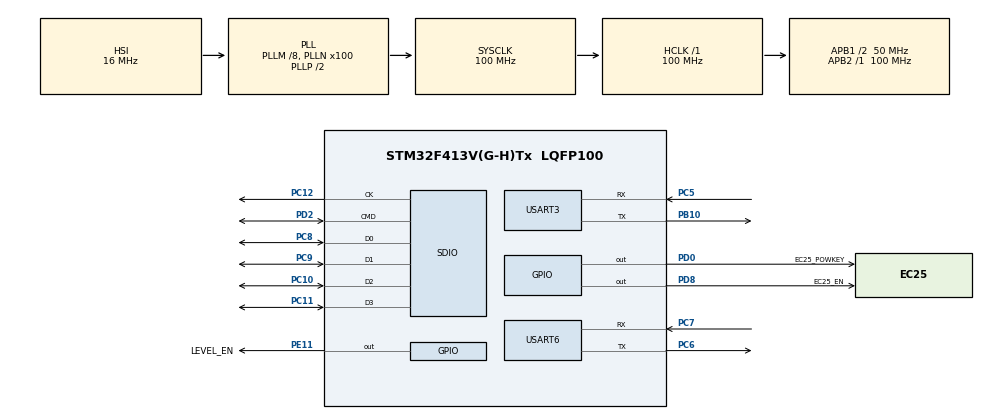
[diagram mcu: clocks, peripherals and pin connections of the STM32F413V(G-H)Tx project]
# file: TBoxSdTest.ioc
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Mcu.Family=STM32F4
NVIC.USART3_IRQn=true\:0\:0\:false\:false\:true\:true\:true\:true
Dma.SDIO_TX.1.MemInc=DMA_MINC_ENABLE
RCC.CortexFreq_Value=100000000
FATFS._USE_LFN=2
PB10.Mode=Asynchronous
VP_FATFS_VS_SDIO.Mode=SDIO
PE11.GPIO_Label=LEVEL_EN
PC12.Signal=SDIO_CK
PC10.Signal=SDIO_D2
PD0.GPIO_Label=EC25_POWKEY
PC5.Mode=Asynchronous
Dma.SDIO_TX.1.PeriphBurst=DMA_PBURST_INC4
RCC.SYSCLKSource=RCC_SYSCLKSOURCE_PLLCLK
ProjectManager.StackSize=0x2000
Dma.SDIO_RX.0.Direction=DMA_PERIPH_TO_MEMORY
VP_FREERTOS_VS_CMSIS_V2.Mode=CMSIS_V2
Dma.SDIO_TX.1.Instance=DMA2_Stream6
Dma.SDIO_TX.1.PeriphInc=DMA_PINC_DISABLE
FREERTOS.configENABLE_FPU=0
Dma.SDIO_TX.1.PeriphDataAlignment=DMA_PDATAALIGN_WORD
PH0\ -\ OSC_IN.Signal=RCC_OSC_IN
RCC.HCLKFreq_Value=100000000
RCC.APB2TimFreq_Value=100000000
PC7.Signal=USART6_RX
PD0.Signal=GPIO_Output
PD8.Signal=GPIO_Output
Dma.SDIO_TX.1.FIFOMode=DMA_FIFOMODE_ENABLE
FREERTOS.configMINIMAL_STACK_SIZE=1024
RCC.AHBFreq_Value=100000000
RCC.HSE_VALUE=8000000
Dma.SDIO_TX.1.MemBurst=DMA_MBURST_INC4
PC14-OSC32_IN.Mode=LSE-External-Oscillator
PA14.Mode=Serial_Wire
PC9.Mode=SD_4_bits_Wide_bus
Dma.SDIO_TX.1.Direction=DMA_MEMORY_TO_PERIPH
Dma.SDIO_RX.0.MemDataAlignment=DMA_MDATAALIGN_WORD
FREERTOS.configTOTAL_HEAP_SIZE=102400
Mcu.Package=LQFP100
USART6.VirtualMode=VM_ASYNC
PC11.Mode=SD_4_bits_Wide_bus
Dma.SDIO_TX.1.FIFOThreshold=DMA_FIFO_THRESHOLD_FULL
Dma.SDIO_TX.1.Priority=DMA_PRIORITY_LOW
Dma.Request1=SDIO_TX
RCC.APB1TimFreq_Value=100000000
PC5.Signal=USART3_RX
Dma.SDIO_RX.0.MemBurst=DMA_MBURST_INC4
Dma.SDIO_RX.0.Instance=DMA2_Stream3
Dma.Request0=SDIO_RX
Dma.SDIO_RX.0.FIFOMode=DMA_FIFOMODE_ENABLE
PC15-OSC32_OUT.Mode=LSE-External-Oscillator
Dma.SDIO_RX.0.Mode=DMA_PFCTRL
Dma.SDIO_RX.0.Priority=DMA_PRIORITY_LOW
FREERTOS.Tasks01=defaultTask,24,1024,StartDefaultTask,Default,NULL,Dynamic,NULL,NULL
PC11.Signal=SDIO_D3
PH1\ -\ OSC_OUT.Mode=HSE-External-Oscillator
PC8.Signal=SDIO_D0
Dma.SDIO_RX.0.PeriphInc=DMA_PINC_DISABLE
PC6.Signal=USART6_TX
PC10.Mode=SD_4_bits_Wide_bus
RCC.APB1CLKDivider=RCC_HCLK_DIV2
PC14-OSC32_IN.Signal=RCC_OSC32_IN
NVIC.SDIO_IRQn=true\:6\:0\:true\:false\:true\:true\:true\:true
NVIC.USART6_IRQn=true\:6\:0\:true\:false\:true\:true\:true\:true
PD8.GPIO_Label=EC25_EN
PA13.Signal=SYS_JTMS-SWDIO
PH0\ -\ OSC_IN.Mode=HSE-External-Oscillator
Dma.SDIO_TX.1.MemDataAlignment=DMA_MDATAALIGN_WORD
Dma.SDIO_RX.0.MemInc=DMA_MINC_ENABLE
Dma.SDIO_RX.0.FIFOThreshold=DMA_FIFO_THRESHOLD_FULL
ProjectManager.TargetToolchain=MDK-ARM V5.27
FATFS._CODE_PAGE=936
PC6.Mode=Asynchronous
RCC.USBFreq_Value=50000000
SDIO.ClockDiv=8
NVIC.DMA2_Stream3_IRQn=true\:6\:0\:true\:false\:true\:true\:false\:true
NVIC.DMA2_Stream6_IRQn=true\:6\:0\:true\:false\:true\:true\:false\:true
PE11.Signal=GPIO_Output
PC15-OSC32_OUT.Signal=RCC_OSC32_OUT
PB10.Signal=USART3_TX
Dma.SDIO_RX.0.PeriphDataAlignment=DMA_PDATAALIGN_WORD
PD2.Mode=SD_4_bits_Wide_bus
PC12.Mode=SD_4_bits_Wide_bus
PH1\ -\ OSC_OUT.Signal=RCC_OSC_OUT
board=custom
RCC.VCOOutputFreq_Value=200000000
RCC.APB2Freq_Value=100000000
Dma.SDIO_TX.1.Mode=DMA_PFCTRL
PA13.Mode=Serial_Wire
Mcu.Name=STM32F413V(G-H)Tx
PC8.Mode=SD_4_bits_Wide_bus
RCC.SYSCLKFreq_VALUE=100000000
USART3.VirtualMode=VM_ASYNC
PA14.Signal=SYS_JTCK-SWCLK
ProjectManager.HeapSize=0x2000
RCC.PLLQ=4
NVIC.PriorityGroup=NVIC_PRIORITYGROUP_4
RCC.PLLM=8
RCC.PLLN=100
Dma.SDIO_RX.0.PeriphBurst=DMA_PBURST_INC4
PC9.Signal=SDIO_D1
PC7.Mode=Asynchronous
PD2.Signal=SDIO_CMD
RCC.APB1Freq_Value=50000000

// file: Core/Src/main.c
/* USER CODE BEGIN Header */
/**
  ******************************************************************************
  * @file           : main.c
  * @brief          : Main program body
  ******************************************************************************
  * @attention
  *
  * <h2><center>&copy; Copyright (c) 2020 STMicroelectronics.
  * All rights reserved.</center></h2>
  *
  * This software component is licensed by ST under Ultimate Liberty license
  * SLA0044, the "License"; You may not use this file except in compliance with
  * the License. You may obtain a copy of the License at:
  *                             www.st.com/SLA0044
  *
  ******************************************************************************
  */
/* USER CODE END Header */
#include "main.h"
#include "cmsis_os.h"
#include "dma.h"
#include "fatfs.h"
#include "sdio.h"
#include "usart.h"
#include "gpio.h"

/* USER CODE BEGIN Includes */
#include "SEGGER_RTT.h"

/* USER CODE END Includes */

void SystemClock_Config(void);
void MX_FREERTOS_Init(void);

int main(void)
{

  /* MCU Configuration--------------------------------------------------------*/

  /* Reset of all peripherals, Initializes the Flash interface and the Systick. */
  HAL_Init();

  /* Configure the system clock */
  SystemClock_Config();

  /* Initialize all configured peripherals */
  MX_GPIO_Init();
  MX_DMA_Init();
  MX_SDIO_SD_Init();
  MX_USART6_UART_Init();
  MX_FATFS_Init();
  MX_USART3_UART_Init();
  /* USER CODE BEGIN 2 */
  SEGGER_RTT_Init();
  SEGGER_RTT_printf(0, "Hello RTT\r\n");
  /* USER CODE END 2 */

  /* Init scheduler */
  osKernelInitialize();  /* Call init function for freertos objects (in freertos.c) */
  MX_FREERTOS_Init();
  /* Start scheduler */
  osKernelStart();

  /* We should never get here as control is now taken by the scheduler */
  /* Infinite loop */
  while (1)
  {

  }
}

void SystemClock_Config(void)
{
  RCC_OscInitTypeDef RCC_OscInitStruct = {0};
  RCC_ClkInitTypeDef RCC_ClkInitStruct = {0};
  RCC_PeriphCLKInitTypeDef PeriphClkInitStruct = {0};

  /** Configure the main internal regulator output voltage
  */
  __HAL_RCC_PWR_CLK_ENABLE();
  __HAL_PWR_VOLTAGESCALING_CONFIG(PWR_REGULATOR_VOLTAGE_SCALE1);
  /** Initializes the RCC Oscillators according to the specified parameters
  * in the RCC_OscInitTypeDef structure.
  */
  RCC_OscInitStruct.OscillatorType = RCC_OSCILLATORTYPE_HSI;
  RCC_OscInitStruct.HSIState = RCC_HSI_ON;
  RCC_OscInitStruct.HSICalibrationValue = RCC_HSICALIBRATION_DEFAULT;
  RCC_OscInitStruct.PLL.PLLState = RCC_PLL_ON;
  RCC_OscInitStruct.PLL.PLLSource = RCC_PLLSOURCE_HSI;
  RCC_OscInitStruct.PLL.PLLM = 8;
  RCC_OscInitStruct.PLL.PLLN = 100;
  RCC_OscInitStruct.PLL.PLLP = RCC_PLLP_DIV2;
  RCC_OscInitStruct.PLL.PLLQ = 4;
  RCC_OscInitStruct.PLL.PLLR = 2;
  if (HAL_RCC_OscConfig(&RCC_OscInitStruct) != HAL_OK)
  {
    Error_Handler();
  }
  /** Initializes the CPU, AHB and APB buses clocks
  */
  RCC_ClkInitStruct.ClockType = RCC_CLOCKTYPE_HCLK|RCC_CLOCKTYPE_SYSCLK
                              |RCC_CLOCKTYPE_PCLK1|RCC_CLOCKTYPE_PCLK2;
  RCC_ClkInitStruct.SYSCLKSource = RCC_SYSCLKSOURCE_PLLCLK;
  RCC_ClkInitStruct.AHBCLKDivider = RCC_SYSCLK_DIV1;
  RCC_ClkInitStruct.APB1CLKDivider = RCC_HCLK_DIV2;
  RCC_ClkInitStruct.APB2CLKDivider = RCC_HCLK_DIV1;

  if (HAL_RCC_ClockConfig(&RCC_ClkInitStruct, FLASH_LATENCY_3) != HAL_OK)
  {
    Error_Handler();
  }
  PeriphClkInitStruct.PeriphClockSelection = RCC_PERIPHCLK_SDIO|RCC_PERIPHCLK_CLK48;
  PeriphClkInitStruct.Clk48ClockSelection = RCC_CLK48CLKSOURCE_PLLQ;
  PeriphClkInitStruct.SdioClockSelection = RCC_SDIOCLKSOURCE_CLK48;
  if (HAL_RCCEx_PeriphCLKConfig(&PeriphClkInitStruct) != HAL_OK)
  {
    Error_Handler();
  }
}

void Error_Handler(void)
{
}

/************************ (C) COPYRIGHT STMicroelectronics *****END OF FILE****/

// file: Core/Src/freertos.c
/* USER CODE BEGIN Header */
/**
  ******************************************************************************
  * File Name          : freertos.c
  * Description        : Code for freertos applications
  ******************************************************************************
  * @attention
  *
  * <h2><center>&copy; Copyright (c) 2020 STMicroelectronics.
  * All rights reserved.</center></h2>
  *
  * This software component is licensed by ST under Ultimate Liberty license
  * SLA0044, the "License"; You may not use this file except in compliance with
  * the License. You may obtain a copy of the License at:
  *                             www.st.com/SLA0044
  *
  ******************************************************************************
  */
/* USER CODE END Header */

#include "FreeRTOS.h"
#include "task.h"
#include "main.h"
#include "cmsis_os.h"

/* USER CODE BEGIN Includes */
#include "ff.h"
#include "string.h"
#include "stdio.h"
#include "stdlib.h"

#include "SEGGER_RTT.h"
#include "app_ec20_4g.h"

/* USER CODE END Includes */

/* Definitions for defaultTask */
osThreadId_t defaultTaskHandle;
const osThreadAttr_t defaultTask_attributes = {
  .name = "defaultTask",
  .priority = (osPriority_t) osPriorityNormal,
  .stack_size = 1024 * 4
};

/* USER CODE BEGIN FunctionPrototypes */
osThreadId_t task1_handle;
const osThreadAttr_t task1_attributes = {
  .name = "task1",
  .priority = (osPriority_t) osPriorityNormal,
  .stack_size = 1024 * 4
};

void task1_entry(void *argument);

/* USER CODE END FunctionPrototypes */

void StartDefaultTask(void *argument);

void MX_FREERTOS_Init(void); /* (MISRA C 2004 rule 8.1) */

void MX_FREERTOS_Init(void) {

  /* Create the thread(s) */
  /* creation of defaultTask */
  defaultTaskHandle = osThreadNew(StartDefaultTask, NULL, &defaultTask_attributes);

  /* USER CODE BEGIN RTOS_THREADS */
  /* add threads, ... */
  task1_handle = osThreadNew(task1_entry, NULL, &task1_attributes);
  /* USER CODE END RTOS_THREADS */

}

/* USER CODE BEGIN Header_StartDefaultTask */
/**
  * @brief  Function implementing the defaultTask thread.
  * @param  argument: Not used
  * @retval None
  */
FRESULT res = ~FR_OK;
FATFS fatfs;

extern uint8_t retSD;    /* Return value for SD */
extern char SDPath[4];   /* SD logical drive path */
extern FATFS SDFatFS;    /* File system object for SD logical drive */
FIL fp;       /* File object for SD */

uint8_t write_buff[20] = {0};
uint8_t read_buff[20] = {0};

DWORD file_size = 0;
FATFS * temp_fat;

BYTE work[512] = {0};

/* USER CODE END Header_StartDefaultTask */
void StartDefaultTask(void *argument)
{
  /* USER CODE BEGIN StartDefaultTask */

  uint32_t byte_num = 0;

  uint32_t task_cnt = 0;

  res = f_mount(&SDFatFS, "0:", 1);

  if(res != FR_OK)
  {
      res = f_mkfs("0:", FM_FAT32, 512, work, 512);
      if(res == FR_OK)
      {
        /* 格式化后，先取消挂载 */
        res = f_mount(NULL, "0:", 1);
        /* 重新挂载	*/
        res = f_mount(&SDFatFS, "0:", 1);
      }
  }

  f_getfree("0:", &file_size, &temp_fat);

  res = f_open(&fp, "test.txt", FA_CREATE_NEW);
  res = f_close(&fp);

  /* Infinite loop */
  for(;;)
  {
    task_cnt++;
    sprintf((char*)write_buff, "%05d", task_cnt);

    byte_num = 0;
    res = f_open(&fp, "test.txt", FA_WRITE);
    res = f_write(&fp, write_buff, 5, &byte_num);
    res = f_close(&fp);
    osDelay(100);

    byte_num = 0;
    res = f_open(&fp, "test.txt", FA_READ);
    res = f_read(&fp, read_buff, 5, &byte_num);
    res = f_close(&fp);

    memcpy(&read_buff[5], "\r\n", 2);
    SEGGER_RTT_printf(0, read_buff);

    osDelay(1000);
  }
  /* USER CODE END StartDefaultTask */
}

/* USER CODE BEGIN Application */

void task1_entry(void *argument)
{
    Ec20_SoftInit();
    while(1)
    {
        Task_4G();
        osDelay(100);
    }
}
/* USER CODE END Application */

/************************ (C) COPYRIGHT STMicroelectronics *****END OF FILE****/
